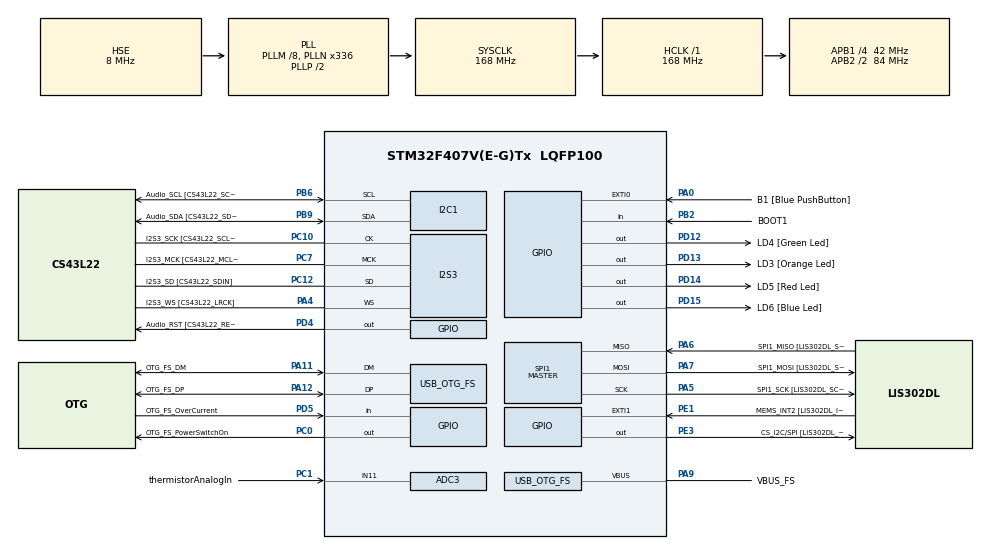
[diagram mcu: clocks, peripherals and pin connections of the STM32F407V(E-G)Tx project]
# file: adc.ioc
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ADC3.Channel-5\#ChannelRegularConversion=ADC_CHANNEL_11
ADC3.NbrOfConversionFlag=1
ADC3.Rank-5\#ChannelRegularConversion=1
ADC3.SamplingTime-5\#ChannelRegularConversion=ADC_SAMPLETIME_3CYCLES
I2S3.AudioFreq-Half_Duplex_Master=I2S_AUDIOFREQ_96K
I2S3.ErrorAudioFreq=-2.34 %
I2S3.ErrorAudioFreq-Half_Duplex_Master=0.8 %
I2S3.FullDuplexMode=I2S_FULLDUPLEXMODE_DISABLE
I2S3.Instance=SPI$Index
I2S3.RealAudioFreq=93.75 KHz
I2S3.RealAudioFreq-Half_Duplex_Master=96.774 KHz
I2S3.VirtualMode=I2S_MODE_MASTER
Mcu.Family=STM32F4
Mcu.Name=STM32F407V(E-G)Tx
Mcu.Package=LQFP100
NVIC.OTG_FS_IRQn=true\:0\:0\:false\:false\:true\:true\:true
NVIC.PriorityGroup=NVIC_PRIORITYGROUP_0
PA0-WKUP.GPIO_Label=B1 [Blue PushButton]
PA0-WKUP.GPIO_ModeDefaultEXTI=GPIO_MODE_EVT_RISING
PA0-WKUP.GPIO_PuPd=GPIO_NOPULL
PA0-WKUP.Signal=GPXTI0
PA10.GPIO_Label=OTG_FS_ID
PA10.GPIO_Mode=GPIO_MODE_AF_PP
PA10.GPIO_PuPd=GPIO_NOPULL
PA10.GPIO_Speed=GPIO_SPEED_FREQ_LOW
PA10.Signal=USB_OTG_FS_ID
PA11.GPIO_Label=OTG_FS_DM
PA11.GPIO_Mode=GPIO_MODE_AF_PP
PA11.GPIO_PuPd=GPIO_NOPULL
PA11.GPIO_Speed=GPIO_SPEED_FREQ_LOW
PA11.Mode=Host_Only
PA11.Signal=USB_OTG_FS_DM
PA12.GPIO_Label=OTG_FS_DP
PA12.GPIO_Mode=GPIO_MODE_AF_PP
PA12.GPIO_PuPd=GPIO_NOPULL
PA12.GPIO_Speed=GPIO_SPEED_FREQ_LOW
PA12.Mode=Host_Only
PA12.Signal=USB_OTG_FS_DP
PA13.GPIO_Label=SWDIO
PA13.Mode=Trace_Asynchronous_SW
PA13.Signal=SYS_JTMS-SWDIO
PA14.GPIO_Label=SWCLK
PA14.Mode=Trace_Asynchronous_SW
PA14.Signal=SYS_JTCK-SWCLK
PA4.GPIO_Label=I2S3_WS [CS43L22_LRCK]
PA4.GPIO_Mode=GPIO_MODE_AF_PP
PA4.GPIO_PuPd=GPIO_NOPULL
PA4.GPIO_Speed=GPIO_SPEED_FREQ_LOW
PA4.Mode=Half_Duplex_Master
PA4.Signal=I2S3_WS
PA5.GPIO_Label=SPI1_SCK [LIS302DL_SCL/SPC]
PA5.GPIO_Mode=GPIO_MODE_AF_PP
PA5.GPIO_PuPd=GPIO_NOPULL
PA5.GPIO_Speed=GPIO_SPEED_FREQ_LOW
PA5.Mode=Full_Duplex_Master
PA5.Signal=SPI1_SCK
PA6.GPIO_Label=SPI1_MISO [LIS302DL_SDO]
PA6.GPIO_Mode=GPIO_MODE_AF_PP
PA6.GPIO_PuPd=GPIO_NOPULL
PA6.GPIO_Speed=GPIO_SPEED_FREQ_LOW
PA6.Mode=Full_Duplex_Master
PA6.Signal=SPI1_MISO
PA7.GPIO_Label=SPI1_MOSI [LIS302DL_SDA/SDI/SDO]
PA7.GPIO_Mode=GPIO_MODE_AF_PP
PA7.GPIO_PuPd=GPIO_NOPULL
PA7.GPIO_Speed=GPIO_SPEED_FREQ_LOW
PA7.Mode=Full_Duplex_Master
PA7.Signal=SPI1_MOSI
PA9.GPIO_Label=VBUS_FS
PA9.GPIO_Mode=GPIO_MODE_INPUT
PA9.GPIO_PuPd=GPIO_NOPULL
PA9.Mode=Activate_VBUS
PA9.Signal=USB_OTG_FS_VBUS
PB10.GPIO_Label=CLK_IN [MP45DT02_CLK]
PB10.GPIO_Mode=GPIO_MODE_AF_PP
PB10.GPIO_PuPd=GPIO_NOPULL
PB10.GPIO_Speed=GPIO_SPEED_FREQ_LOW
PB10.Signal=I2S2_CK
PB2.GPIO_Label=BOOT1
PB2.GPIO_Mode=GPIO_MODE_INPUT
PB2.GPIO_PuPd=GPIO_NOPULL
PB2.Signal=GPIO_Input
PB3.GPIO_Label=SWO
PB3.Mode=Trace_Asynchronous_SW
PB3.Signal=SYS_JTDO-SWO
PB6.GPIO_Label=Audio_SCL [CS43L22_SCL]
PB6.GPIO_Mode=GPIO_MODE_AF_OD
PB6.GPIO_Pu=GPIO_PULLUP
PB6.GPIO_PuPd=GPIO_NOPULL
PB6.GPIO_Speed=GPIO_SPEED_FREQ_LOW
PB6.Mode=I2C
PB6.Signal=I2C1_SCL
PB9.GPIO_Label=Audio_SDA [CS43L22_SDA]
PB9.GPIO_Mode=GPIO_MODE_AF_OD
PB9.GPIO_Pu=GPIO_PULLUP
PB9.GPIO_PuPd=GPIO_NOPULL
PB9.GPIO_Speed=GPIO_SPEED_FREQ_LOW
PB9.Mode=I2C
PB9.Signal=I2C1_SDA
PC0.GPIO_Label=OTG_FS_PowerSwitchOn
PC0.GPIO_PuPd=GPIO_NOPULL
PC0.GPIO_Speed=GPIO_SPEED_FREQ_LOW
PC0.PinState=GPIO_PIN_SET
PC0.Signal=GPIO_Output
PC1.GPIO_Label=thermistorAnalogIn
PC1.Signal=ADCx_IN11
PC10.GPIO_Label=I2S3_SCK [CS43L22_SCLK]
PC10.GPIO_Mode=GPIO_MODE_AF_PP
PC10.GPIO_PuPd=GPIO_NOPULL
PC10.GPIO_Speed=GPIO_SPEED_FREQ_LOW
PC10.Mode=Half_Duplex_Master
PC10.Signal=I2S3_CK
PC12.GPIO_Label=I2S3_SD [CS43L22_SDIN]
PC12.GPIO_Mode=GPIO_MODE_AF_PP
PC12.GPIO_PuPd=GPIO_NOPULL
PC12.GPIO_Speed=GPIO_SPEED_FREQ_LOW
PC12.Mode=Half_Duplex_Master
PC12.Signal=I2S3_SD
PC14-OSC32_IN.GPIO_Label=PC14-OSC32_IN
PC14-OSC32_IN.Mode=LSE-External-Oscillator
PC14-OSC32_IN.Signal=RCC_OSC32_IN
PC15-OSC32_OUT.GPIO_Label=PC15-OSC32_OUT
PC15-OSC32_OUT.Mode=LSE-External-Oscillator
PC15-OSC32_OUT.Signal=RCC_OSC32_OUT
PC3.GPIO_Label=PDM_OUT [MP45DT02_DOUT]
PC3.GPIO_Mode=GPIO_MODE_AF_PP
PC3.GPIO_PuPd=GPIO_NOPULL
PC3.GPIO_Speed=GPIO_SPEED_FREQ_LOW
PC3.Signal=I2S2_SD
PC7.GPIO_Label=I2S3_MCK [CS43L22_MCLK]
PC7.GPIO_Mode=GPIO_MODE_AF_PP
PC7.GPIO_PuPd=GPIO_NOPULL
PC7.GPIO_Speed=GPIO_SPEED_FREQ_LOW
PC7.Mode=Master_Clock_Activated
PC7.Signal=I2S3_MCK
PD12.GPIO_Label=LD4 [Green Led]
PD12.GPIO_PuPd=GPIO_NOPULL
PD12.GPIO_Speed=GPIO_SPEED_FREQ_LOW
PD12.Signal=GPIO_Output
PD13.GPIO_Label=LD3 [Orange Led]
PD13.GPIO_PuPd=GPIO_NOPULL
PD13.GPIO_Speed=GPIO_SPEED_FREQ_LOW
PD13.Signal=GPIO_Output
PD14.GPIO_Label=LD5 [Red Led]
PD14.GPIO_PuPd=GPIO_NOPULL
PD14.GPIO_Speed=GPIO_SPEED_FREQ_LOW
PD14.Signal=GPIO_Output
PD15.GPIO_Label=LD6 [Blue Led]
PD15.GPIO_PuPd=GPIO_NOPULL
PD15.GPIO_Speed=GPIO_SPEED_FREQ_LOW
PD15.Signal=GPIO_Output
PD4.GPIO_Label=Audio_RST [CS43L22_RESET]
PD4.GPIO_PuPd=GPIO_NOPULL
PD4.GPIO_Speed=GPIO_SPEED_FREQ_LOW
PD4.Signal=GPIO_Output
PD5.GPIO_Label=OTG_FS_OverCurrent
PD5.GPIO_Mode=GPIO_MODE_INPUT
PD5.GPIO_PuPd=GPIO_NOPULL
PD5.Signal=GPIO_Input
PE1.GPIO_Label=MEMS_INT2 [LIS302DL_INT2]
PE1.GPIO_ModeDefaultEXTI=GPIO_MODE_EVT_RISING
PE1.GPIO_PuPd=GPIO_NOPULL
PE1.Signal=GPXTI1
PE3.GPIO_Label=CS_I2C/SPI [LIS302DL_CS_I2C/SPI]
PE3.GPIO_PuPd=GPIO_NOPULL
PE3.GPIO_Speed=GPIO_SPEED_FREQ_LOW
PE3.Signal=GPIO_Output
PH0-OSC_IN.GPIO_Label=PH0-OSC_IN
PH0-OSC_IN.Mode=HSE-External-Oscillator
PH0-OSC_IN.Signal=RCC_OSC_IN
PH1-OSC_OUT.GPIO_Label=PH1-OSC_OUT
PH1-OSC_OUT.Mode=HSE-External-Oscillator
PH1-OSC_OUT.Signal=RCC_OSC_OUT
ProjectManager.HeapSize=0x200
ProjectManager.StackSize=0x400
ProjectManager.TargetToolchain=STM32CubeIDE
RCC.48MHZClocksFreq_Value=48000000
RCC.AHBFreq_Value=168000000
RCC.APB1CLKDivider=RCC_HCLK_DIV4
RCC.APB1Freq_Value=42000000
RCC.APB1TimFreq_Value=84000000
RCC.APB2CLKDivider=RCC_HCLK_DIV2
RCC.APB2Freq_Value=84000000
RCC.APB2TimFreq_Value=168000000
RCC.CortexFreq_Value=168000000
RCC.HCLKFreq_Value=168000000
RCC.HSE_VALUE=8000000
RCC.HSI_VALUE=16000000
RCC.PLLM=8
RCC.PLLN=336
RCC.PLLQ=7
RCC.SYSCLKFreq_VALUE=168000000
RCC.SYSCLKSource=RCC_SYSCLKSOURCE_PLLCLK
RCC.VCOOutputFreq_Value=336000000
SH.ADCx_IN11.0=ADC3_IN11,IN11
SPI1.BaudRatePrescaler-Full_Duplex_Master=SPI_BAUDRATEPRESCALER_2
SPI1.CalculateBaudRate-Full_Duplex_Master=42.0 MBits/s
SPI1.Direction=SPI_DIRECTION_2LINES
SPI1.Mode=SPI_MODE_MASTER
SPI1.Mode-Full_Duplex_Master=SPI_MODE_MASTER
SPI1.VirtualType=VM_MASTER
USB_HOST.BSP.number=1
USB_HOST.USBH_HandleTypeDef-CDC_FS=hUsbHostFS
USB_HOST.VirtualModeFS=Cdc
USB_HOST0.BSP.STBoard=false
USB_HOST0.BSP.api=Unknown
USB_HOST0.BSP.i2caddr=0
USB_HOST0.BSP.i2creg=0
USB_HOST0.BSP.instance=PC0
USB_HOST0.BSP.ip=GPIO
USB_HOST0.BSP.mode=Output
USB_HOST0.BSP.name=Drive_VBUS_FS
USB_HOST0.BSP.solution=PC0
USB_OTG_FS.VirtualMode=Host_Only
USB_OTG_FS.phy_itface=HCD_PHY_EMBEDDED
VP_USB_HOST_VS_USB_HOST_CDC_FS.Mode=CDC_FS
board=STM32F407G-DISC1

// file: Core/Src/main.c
/* USER CODE BEGIN Header */

/**
 * Loren Olsen
ECET 260 Mel Dundas
Lab 03 ADC Thermistor
  ******************************************************************************
  * @file           : main.c
  * @brief          : Main program body
  ******************************************************************************
  * @attention
  *
  * <h2><center>&copy; Copyright (c) 2021 STMicroelectronics.
  * All rights reserved.</center></h2>
  *
  * This software component is licensed by ST under Ultimate Liberty license
  * SLA0044, the "License"; You may not use this file except in compliance with
  * the License. You may obtain a copy of the License at:
  *                             www.st.com/SLA0044
  *
  ******************************************************************************
  */
/* USER CODE END Header */
#include "main.h"
#include "usb_host.h"

/* USER CODE BEGIN Includes */
#include <stdio.h>
#include <math.h>

/* USER CODE END Includes */

ADC_HandleTypeDef hadc3;

I2C_HandleTypeDef hi2c1;

I2S_HandleTypeDef hi2s3;

SPI_HandleTypeDef hspi1;

/* USER CODE BEGIN PV */

int count = 0;
int adcInput = 0;
float temperature = 0.0;

/* USER CODE END PV */

void SystemClock_Config(void);
static void MX_GPIO_Init(void);
static void MX_I2C1_Init(void);
static void MX_I2S3_Init(void);
static void MX_SPI1_Init(void);
static void MX_ADC3_Init(void);
void MX_USB_HOST_Process(void);

/* USER CODE BEGIN PFP */

int __io_putchar(int ch);
int getadcvalue();
float  convertAnalogToTemperature(unsigned int);

/* USER CODE END PFP */

int main(void)
{

  /* MCU Configuration--------------------------------------------------------*/

  /* Reset of all peripherals, Initializes the Flash interface and the Systick. */
  HAL_Init();

  /* Configure the system clock */
  SystemClock_Config();

  /* Initialize all configured peripherals */
  MX_GPIO_Init();
  MX_I2C1_Init();
  MX_I2S3_Init();
  MX_SPI1_Init();
  MX_USB_HOST_Init();
  MX_ADC3_Init();

  /* Infinite loop */
  /* USER CODE BEGIN WHILE */
  while (1)	//****************************************************************************     Start of Code
  {
	  // thermistorAnalogIn_Pin
	  // thermistorAnalogIn_GPIO_Port
	  printf("%i", count);
	  count++;

	  //adcInput = getadcvalue();
	  int adcSumForAverage = 0;
	  for (int i = 0; i < 100; i ++)
	  {
		  	adcSumForAverage += getadcvalue();
		  	HAL_Delay(50);
	  }
	  adcInput  = (adcSumForAverage / 100);

	  temperature = convertAnalogToTemperature(adcInput);

	  printf("Temperature : %.1f \n", temperature);

	  //printf("adcvalue = %i \n", adcInput);

    /* USER CODE END WHILE */
    MX_USB_HOST_Process();

  }
}

void SystemClock_Config(void)
{
  RCC_OscInitTypeDef RCC_OscInitStruct = {0};
  RCC_ClkInitTypeDef RCC_ClkInitStruct = {0};

  /** Configure the main internal regulator output voltage
  */
  __HAL_RCC_PWR_CLK_ENABLE();
  __HAL_PWR_VOLTAGESCALING_CONFIG(PWR_REGULATOR_VOLTAGE_SCALE1);
  /** Initializes the RCC Oscillators according to the specified parameters
  * in the RCC_OscInitTypeDef structure.
  */
  RCC_OscInitStruct.OscillatorType = RCC_OSCILLATORTYPE_HSE;
  RCC_OscInitStruct.HSEState = RCC_HSE_ON;
  RCC_OscInitStruct.PLL.PLLState = RCC_PLL_ON;
  RCC_OscInitStruct.PLL.PLLSource = RCC_PLLSOURCE_HSE;
  RCC_OscInitStruct.PLL.PLLM = 8;
  RCC_OscInitStruct.PLL.PLLN = 336;
  RCC_OscInitStruct.PLL.PLLP = RCC_PLLP_DIV2;
  RCC_OscInitStruct.PLL.PLLQ = 7;
  if (HAL_RCC_OscConfig(&RCC_OscInitStruct) != HAL_OK)
  {
    Error_Handler();
  }
  /** Initializes the CPU, AHB and APB buses clocks
  */
  RCC_ClkInitStruct.ClockType = RCC_CLOCKTYPE_HCLK|RCC_CLOCKTYPE_SYSCLK
                              |RCC_CLOCKTYPE_PCLK1|RCC_CLOCKTYPE_PCLK2;
  RCC_ClkInitStruct.SYSCLKSource = RCC_SYSCLKSOURCE_PLLCLK;
  RCC_ClkInitStruct.AHBCLKDivider = RCC_SYSCLK_DIV1;
  RCC_ClkInitStruct.APB1CLKDivider = RCC_HCLK_DIV4;
  RCC_ClkInitStruct.APB2CLKDivider = RCC_HCLK_DIV2;

  if (HAL_RCC_ClockConfig(&RCC_ClkInitStruct, FLASH_LATENCY_5) != HAL_OK)
  {
    Error_Handler();
  }
}

static void MX_ADC3_Init(void)
{

  ADC_ChannelConfTypeDef sConfig = {0};

  /** Configure the global features of the ADC (Clock, Resolution, Data Alignment and number of conversion)
  */
  hadc3.Instance = ADC3;
  hadc3.Init.ClockPrescaler = ADC_CLOCK_SYNC_PCLK_DIV4;
  hadc3.Init.Resolution = ADC_RESOLUTION_12B;
  hadc3.Init.ScanConvMode = DISABLE;
  hadc3.Init.ContinuousConvMode = DISABLE;
  hadc3.Init.DiscontinuousConvMode = DISABLE;
  hadc3.Init.ExternalTrigConvEdge = ADC_EXTERNALTRIGCONVEDGE_NONE;
  hadc3.Init.ExternalTrigConv = ADC_SOFTWARE_START;
  hadc3.Init.DataAlign = ADC_DATAALIGN_RIGHT;
  hadc3.Init.NbrOfConversion = 1;
  hadc3.Init.DMAContinuousRequests = DISABLE;
  hadc3.Init.EOCSelection = ADC_EOC_SINGLE_CONV;
  if (HAL_ADC_Init(&hadc3) != HAL_OK)
  {
    Error_Handler();
  }
  /** Configure for the selected ADC regular channel its corresponding rank in the sequencer and its sample time.
  */
  sConfig.Channel = ADC_CHANNEL_11;
  sConfig.Rank = 1;
  sConfig.SamplingTime = ADC_SAMPLETIME_3CYCLES;
  if (HAL_ADC_ConfigChannel(&hadc3, &sConfig) != HAL_OK)
  {
    Error_Handler();
  }

}

static void MX_I2C1_Init(void)
{

  hi2c1.Instance = I2C1;
  hi2c1.Init.ClockSpeed = 100000;
  hi2c1.Init.DutyCycle = I2C_DUTYCYCLE_2;
  hi2c1.Init.OwnAddress1 = 0;
  hi2c1.Init.AddressingMode = I2C_ADDRESSINGMODE_7BIT;
  hi2c1.Init.DualAddressMode = I2C_DUALADDRESS_DISABLE;
  hi2c1.Init.OwnAddress2 = 0;
  hi2c1.Init.GeneralCallMode = I2C_GENERALCALL_DISABLE;
  hi2c1.Init.NoStretchMode = I2C_NOSTRETCH_DISABLE;
  if (HAL_I2C_Init(&hi2c1) != HAL_OK)
  {
    Error_Handler();
  }

}

static void MX_I2S3_Init(void)
{

  hi2s3.Instance = SPI3;
  hi2s3.Init.Mode = I2S_MODE_MASTER_TX;
  hi2s3.Init.Standard = I2S_STANDARD_PHILIPS;
  hi2s3.Init.DataFormat = I2S_DATAFORMAT_16B;
  hi2s3.Init.MCLKOutput = I2S_MCLKOUTPUT_ENABLE;
  hi2s3.Init.AudioFreq = I2S_AUDIOFREQ_96K;
  hi2s3.Init.CPOL = I2S_CPOL_LOW;
  hi2s3.Init.ClockSource = I2S_CLOCK_PLL;
  hi2s3.Init.FullDuplexMode = I2S_FULLDUPLEXMODE_DISABLE;
  if (HAL_I2S_Init(&hi2s3) != HAL_OK)
  {
    Error_Handler();
  }

}

static void MX_SPI1_Init(void)
{

  /* SPI1 parameter configuration*/
  hspi1.Instance = SPI1;
  hspi1.Init.Mode = SPI_MODE_MASTER;
  hspi1.Init.Direction = SPI_DIRECTION_2LINES;
  hspi1.Init.DataSize = SPI_DATASIZE_8BIT;
  hspi1.Init.CLKPolarity = SPI_POLARITY_LOW;
  hspi1.Init.CLKPhase = SPI_PHASE_1EDGE;
  hspi1.Init.NSS = SPI_NSS_SOFT;
  hspi1.Init.BaudRatePrescaler = SPI_BAUDRATEPRESCALER_2;
  hspi1.Init.FirstBit = SPI_FIRSTBIT_MSB;
  hspi1.Init.TIMode = SPI_TIMODE_DISABLE;
  hspi1.Init.CRCCalculation = SPI_CRCCALCULATION_DISABLE;
  hspi1.Init.CRCPolynomial = 10;
  if (HAL_SPI_Init(&hspi1) != HAL_OK)
  {
    Error_Handler();
  }

}

static void MX_GPIO_Init(void)
{
  GPIO_InitTypeDef GPIO_InitStruct = {0};

  /* GPIO Ports Clock Enable */
  __HAL_RCC_GPIOE_CLK_ENABLE();
  __HAL_RCC_GPIOC_CLK_ENABLE();
  __HAL_RCC_GPIOH_CLK_ENABLE();
  __HAL_RCC_GPIOA_CLK_ENABLE();
  __HAL_RCC_GPIOB_CLK_ENABLE();
  __HAL_RCC_GPIOD_CLK_ENABLE();

  /*Configure GPIO pin Output Level */
  HAL_GPIO_WritePin(CS_I2C_SPI_GPIO_Port, CS_I2C_SPI_Pin, GPIO_PIN_RESET);

  /*Configure GPIO pin Output Level */
  HAL_GPIO_WritePin(OTG_FS_PowerSwitchOn_GPIO_Port, OTG_FS_PowerSwitchOn_Pin, GPIO_PIN_SET);

  /*Configure GPIO pin Output Level */
  HAL_GPIO_WritePin(GPIOD, LD4_Pin|LD3_Pin|LD5_Pin|LD6_Pin
                          |Audio_RST_Pin, GPIO_PIN_RESET);

  /*Configure GPIO pin : CS_I2C_SPI_Pin */
  GPIO_InitStruct.Pin = CS_I2C_SPI_Pin;
  GPIO_InitStruct.Mode = GPIO_MODE_OUTPUT_PP;
  GPIO_InitStruct.Pull = GPIO_NOPULL;
  GPIO_InitStruct.Speed = GPIO_SPEED_FREQ_LOW;
  HAL_GPIO_Init(CS_I2C_SPI_GPIO_Port, &GPIO_InitStruct);

  /*Configure GPIO pin : OTG_FS_PowerSwitchOn_Pin */
  GPIO_InitStruct.Pin = OTG_FS_PowerSwitchOn_Pin;
  GPIO_InitStruct.Mode = GPIO_MODE_OUTPUT_PP;
  GPIO_InitStruct.Pull = GPIO_NOPULL;
  GPIO_InitStruct.Speed = GPIO_SPEED_FREQ_LOW;
  HAL_GPIO_Init(OTG_FS_PowerSwitchOn_GPIO_Port, &GPIO_InitStruct);

  /*Configure GPIO pin : PDM_OUT_Pin */
  GPIO_InitStruct.Pin = PDM_OUT_Pin;
  GPIO_InitStruct.Mode = GPIO_MODE_AF_PP;
  GPIO_InitStruct.Pull = GPIO_NOPULL;
  GPIO_InitStruct.Speed = GPIO_SPEED_FREQ_LOW;
  GPIO_InitStruct.Alternate = GPIO_AF5_SPI2;
  HAL_GPIO_Init(PDM_OUT_GPIO_Port, &GPIO_InitStruct);

  /*Configure GPIO pin : B1_Pin */
  GPIO_InitStruct.Pin = B1_Pin;
  GPIO_InitStruct.Mode = GPIO_MODE_EVT_RISING;
  GPIO_InitStruct.Pull = GPIO_NOPULL;
  HAL_GPIO_Init(B1_GPIO_Port, &GPIO_InitStruct);

  /*Configure GPIO pin : BOOT1_Pin */
  GPIO_InitStruct.Pin = BOOT1_Pin;
  GPIO_InitStruct.Mode = GPIO_MODE_INPUT;
  GPIO_InitStruct.Pull = GPIO_NOPULL;
  HAL_GPIO_Init(BOOT1_GPIO_Port, &GPIO_InitStruct);

  /*Configure GPIO pin : CLK_IN_Pin */
  GPIO_InitStruct.Pin = CLK_IN_Pin;
  GPIO_InitStruct.Mode = GPIO_MODE_AF_PP;
  GPIO_InitStruct.Pull = GPIO_NOPULL;
  GPIO_InitStruct.Speed = GPIO_SPEED_FREQ_LOW;
  GPIO_InitStruct.Alternate = GPIO_AF5_SPI2;
  HAL_GPIO_Init(CLK_IN_GPIO_Port, &GPIO_InitStruct);

  /*Configure GPIO pins : LD4_Pin LD3_Pin LD5_Pin LD6_Pin
                           Audio_RST_Pin */
  GPIO_InitStruct.Pin = LD4_Pin|LD3_Pin|LD5_Pin|LD6_Pin
                          |Audio_RST_Pin;
  GPIO_InitStruct.Mode = GPIO_MODE_OUTPUT_PP;
  GPIO_InitStruct.Pull = GPIO_NOPULL;
  GPIO_InitStruct.Speed = GPIO_SPEED_FREQ_LOW;
  HAL_GPIO_Init(GPIOD, &GPIO_InitStruct);

  /*Configure GPIO pin : OTG_FS_OverCurrent_Pin */
  GPIO_InitStruct.Pin = OTG_FS_OverCurrent_Pin;
  GPIO_InitStruct.Mode = GPIO_MODE_INPUT;
  GPIO_InitStruct.Pull = GPIO_NOPULL;
  HAL_GPIO_Init(OTG_FS_OverCurrent_GPIO_Port, &GPIO_InitStruct);

  /*Configure GPIO pin : MEMS_INT2_Pin */
  GPIO_InitStruct.Pin = MEMS_INT2_Pin;
  GPIO_InitStruct.Mode = GPIO_MODE_EVT_RISING;
  GPIO_InitStruct.Pull = GPIO_NOPULL;
  HAL_GPIO_Init(MEMS_INT2_GPIO_Port, &GPIO_InitStruct);

}

/* USER CODE BEGIN 4 */
//**********************************************************************  Start of user Functions

float  convertAnalogToTemperature(unsigned int analogReadValue)
	{
	// If analogReadValue is 4095, we would otherwise cause a Divide-By-Zero,
	  // Treat as crazy out-of-range temperature.
	  if(analogReadValue == 4095) return 1000.0;

	  return (1/((log(((10000.0 * analogReadValue) / (4095.0 - analogReadValue))/100000.0)/3950.0) + (1 / (273.15 + 25.000)))) - 273.15;
	}

int getadcvalue()
{
	int adcvalue = 0;
	HAL_ADC_Start(&hadc3);
	HAL_ADC_PollForConversion(&hadc3, 1);
	adcvalue = HAL_ADC_GetValue(&hadc3);
	return adcvalue;

}

int __io_putchar(int ch)
   	  {
   		  ITM_SendChar(ch);
   		  return 0;
   	  }

/* USER CODE END 4 */

void Error_Handler(void)
{
  __disable_irq();
  while (1)
  {
  }
}

/************************ (C) COPYRIGHT STMicroelectronics *****END OF FILE****/
